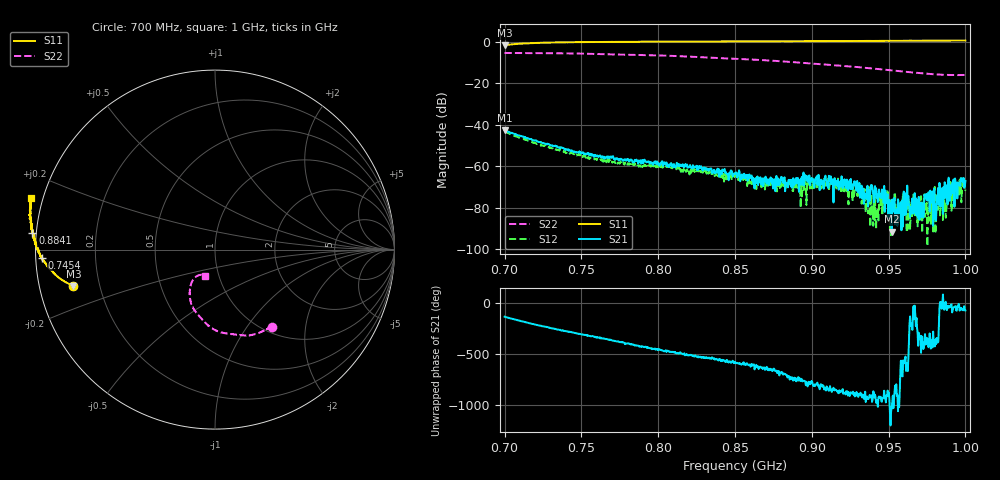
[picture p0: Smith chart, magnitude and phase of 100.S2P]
! C:\Users\rflab\Downloads\Lab5_KD_ZW\Q2\728 MHz\100.S2P
! Touchstone 1.1 file saved by VNA.EXE V1.65 (www.ke5fx.com/gpib/readme.htm)
! 11/18/2024 9:15:28 PM
!  Source: HEWLETT PACKARD,8753D,0,6.14
!  Min freq: 7.000000E+008 Hz
!  Max freq: 1.000000E+009 Hz
!  Points: 801
!  Params: S11 S21 S12 S22
# GHZ S MA R 50
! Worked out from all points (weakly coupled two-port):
!   801 points, 700 MHz to 1 GHz, reference 50 ohm
!   highest |S21| = -42.63 dB at 700 MHz (marker M1); lowest = -91.4 dB at 952 MHz (marker M2)
!   lowest |S11| = -1.8 dB at 700 MHz (marker M3), VSWR 9.79, Z = 5.19 - j6.29 ohm
!   |S11| at or under -10 dB: nowhere
!   |S22| runs from -16.1 to -5.5 dB; largest |S21 - S12| = 0.0023
!   S11 on the Smith chart (normalised r, x): 700 MHz: 0.10, -0.13; 745.4 MHz: 0.02, -0.02; 884.1 MHz: -0.01, +0.05; 1 GHz: -0.03, +0.14
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0.7  0.8146 -165.5  0.007385 -138.2  0.006936 -156.0  0.5334 -53.7
0.745375  0.9664 -177.3  0.002285 64.0  0.00194 43.7  0.5176 -66.8
0.75025  0.9736 -177.9  0.002132 48.1  0.001755 28.7  0.513 -68.5
0.800125  0.9968 178.6  0.001085 -94.1  0.001136 -114.7  0.4641 -85.2
0.85  1.012 176.2  0.000688 141.8  0.000603 122.8  0.3853 -102.4
0.884125  1.022 174.7  0.000377 -11.9  0.000346 -6.8  0.3285 -114.0
0.892375  1.024 174.2  0.000441 -30.3  0.000295 -65.8  0.311 -116.2
0.90025  1.025 173.9  0.000488 -53.9  0.000291 -83.0  0.2964 -118.4
0.928375  1.032 172.3  0.000341 177.7  0.000322 145.6  0.2459 -123.9
0.934375  1.036 171.7  0.000225 146.9  0.000286 145.3  0.2356 -124.8
0.94225  1.036 171.1  0.000179 129.6  9.5e-05 146.9  0.2212 -125.6
0.947875  1.043 170.5  0.000262 141.6  0.000229 169.5  0.2112 -126.0
0.950125  1.047 170.5  7.4e-05 -158.3  5.7e-05 149.4  0.2068 -126.0
0.952  1.045 170.4  2.7e-05 51.1  4.8e-05 77.2  0.2037 -125.9
0.961375  1.049 169.4  6.9e-05 52.5  0.000113 -150.1  0.1871 -125.3
0.965125  1.051 169.4  7.3e-05 152.1  5.6e-05 75.7  0.1814 -124.7
0.9715  1.05 168.7  6e-05 32.0  0.000112 -146.8  0.1722 -123.1
0.97525  1.052 168.2  0.00015 7.2  1.2e-05 178.4  0.1674 -122.0
0.9805  1.054 167.6  5.5e-05 -2.7  2.4e-05 120.7  0.1625 -120.0
0.988  1.057 166.5  0.000347 -74.5  0.000278 -107.9  0.1575 -116.5
0.9955  1.061 165.2  0.000397 -16.9  0.000285 -98.0  0.1567 -113.0
1  1.064 164.2  0.000447 -77.7  0.00026 -103.3  0.1582 -110.7
